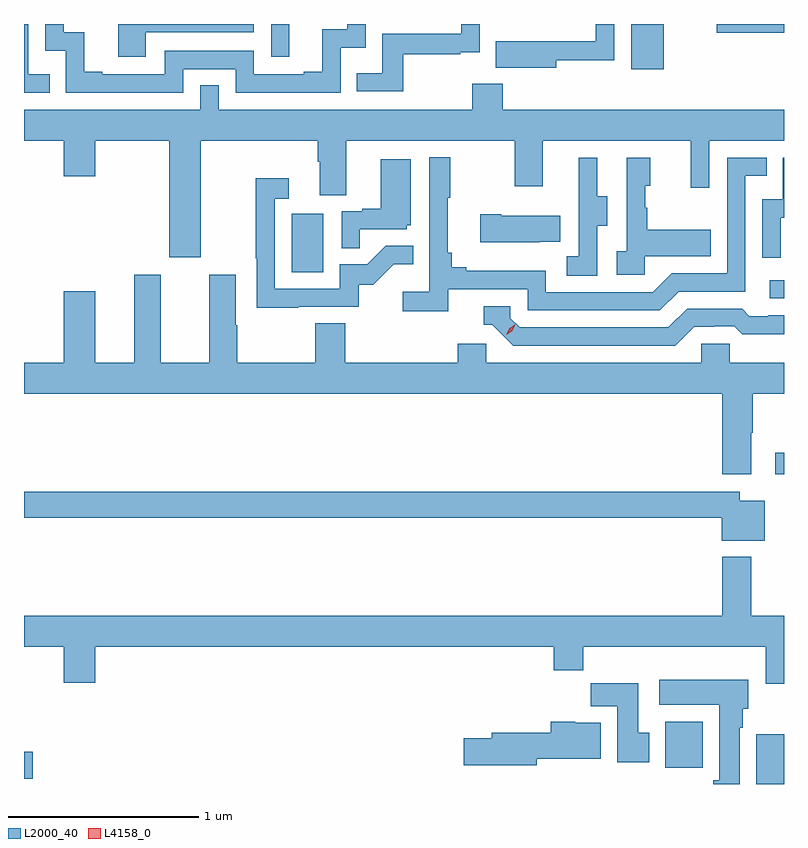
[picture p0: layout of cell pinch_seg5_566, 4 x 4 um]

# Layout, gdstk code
import gdstk
lib = gdstk.Library(unit=1e-6, precision=1e-09)
def R(c, l, rs):  # rectangles x0, y0, x1, y1
    for r in rs: c.add(gdstk.rectangle(r[:2], r[2:], *l))
def P(c, l, *ps):  # polygons
    for p in ps: c.add(gdstk.Polygon(p, *l))
L2000_40 = (2000, 40)
L4158_0 = (4158, 0)

pinch_seg5_566 = lib.new_cell('pinch_seg5_566')
R(pinch_seg5_566, L2000_40, [(1103.717,864.03,1103.862,864.292), (1099.862,864.058,1099.909,864.2), (1103.237,864.116,1103.434,864.358), (1103.817,865.661,1103.862,865.774), (1103.787,866.586,1103.862,866.682), (1101.272,866.724,1101.436,867.031), (1103.057,867.792,1103.23,868.03), (1101.162,867.858,1101.259,868.03), (1103.508,867.985,1103.862,868.03)])
P(pinch_seg5_566, L2000_40, [(1102.663,867.838),(1102.968,867.838),(1102.968,868.03),(1102.872,868.03),(1102.872,867.939),(1102.559,867.939),(1102.559,867.94),(1102.345,867.94),(1102.345,867.8),(1102.663,867.8)],
  [(1100.7,867.792),(1100.976,867.792),(1100.976,867.669),(1101.528,867.669),(1101.528,867.905),(1101.66,867.905),(1101.66,868.03),(1101.564,868.03),(1101.564,868.003),(1101.431,868.003),(1101.431,867.778),(1101.335,867.778),(1101.335,867.765),(1101.072,867.765),(1101.072,867.888),(1100.604,867.888),(1100.604,867.765),(1100.275,867.765),(1100.275,867.778),(1100.18,867.778),(1100.18,867.986),(1100.07,867.986),(1100.07,868.03),(1099.974,868.03),(1099.974,867.888),(1100.082,867.888),(1100.082,867.669),(1100.7,867.669)],
  [(1100.503,867.987),(1101.072,867.987),(1101.072,868.03),(1100.359,868.03),(1100.359,867.858),(1100.503,867.858)],
  [(1099.997,867.765),(1099.884,867.765),(1099.884,868.03),(1099.862,868.03),(1099.862,867.669),(1099.997,867.669)],
  [(1101.859,867.87),(1102.157,867.87),(1102.157,867.881),(1102.26,867.881),(1102.26,868.03),(1102.164,868.03),(1102.164,867.978),(1101.748,867.978),(1101.748,867.772),(1101.613,867.772),(1101.613,867.675),(1101.859,867.675)],
  [(1100.791,867.416),(1101.407,867.416),(1101.407,867.304),(1101.419,867.304),(1101.419,867.13),(1101.559,867.13),(1101.559,867.416),(1102.444,867.416),(1102.444,867.177),(1102.591,867.177),(1102.591,867.416),(1103.372,867.416),(1103.372,867.168),(1103.469,867.168),(1103.469,867.416),(1103.862,867.416),(1103.862,867.58),(1102.382,867.58),(1102.382,867.715),(1102.222,867.715),(1102.222,867.58),(1100.886,867.58),(1100.886,867.707),(1100.79,867.707),(1100.79,867.58),(1099.862,867.58),(1099.862,867.416),(1100.072,867.416),(1100.072,867.228),(1100.236,867.228),(1100.236,867.416),(1100.627,867.416),(1100.627,866.802),(1100.791,866.802)],
  [(1102.094,866.634),(1102.512,866.634),(1102.512,866.523),(1103.209,866.523),(1103.308,866.622),(1103.658,866.622),(1103.658,867.231),(1103.771,867.231),(1103.771,867.327),(1103.562,867.327),(1103.562,866.718),(1103.271,866.718),(1103.172,866.619),(1102.608,866.619),(1102.608,866.731),(1102.189,866.731),(1102.189,866.75),(1102.112,866.75),(1102.112,866.827),(1102.093,866.827),(1102.093,867.115),(1102.105,867.115),(1102.105,867.328),(1101.996,867.328),(1101.996,866.62),(1101.855,866.62),(1101.855,866.518),(1102.094,866.518)],
  [(1103.844,867.011),(1103.862,867.011),(1103.862,867.327),(1103.856,867.327),(1103.856,867.108),(1103.748,867.108),(1103.748,866.799),(1103.844,866.799)],
  [(1103.13,866.807),(1103.477,866.807),(1103.477,866.947),(1103.143,866.947),(1103.143,867.062),(1103.133,867.062),(1103.133,867.18),(1103.158,867.18),(1103.158,867.325),(1103.034,867.325),(1103.034,866.834),(1102.983,866.834),(1102.983,866.709),(1103.13,866.709)],
  [(1102.878,866.968),(1102.933,866.968),(1102.933,867.123),(1102.879,867.123),(1102.879,867.325),(1102.781,867.325),(1102.781,867.111),(1102.782,867.111),(1102.782,866.807),(1102.719,866.807),(1102.719,866.704),(1102.878,866.704)],
  [(1101.629,866.949),(1101.876,866.949),(1101.876,866.97),(1101.898,866.97),(1101.898,867.319),(1101.74,867.319),(1101.74,867.058),(1101.641,867.058),(1101.641,867.045),(1101.534,867.045),(1101.534,866.851),(1101.629,866.851)],
  [(1101.305,866.541),(1101.624,866.541),(1101.624,866.658),(1101.7,866.658),(1101.807,866.765),(1101.911,866.765),(1101.911,866.864),(1101.767,866.864),(1101.669,866.766),(1101.525,866.766),(1101.525,866.637),(1101.183,866.637),(1101.183,867.111),(1101.256,867.111),(1101.256,867.217),(1101.082,867.217),(1101.082,866.797),(1101.087,866.797),(1101.087,866.536),(1101.305,866.536)],
  [(1102.577,866.885),(1102.685,866.885),(1102.685,867.022),(1102.375,867.022),(1102.375,867.03),(1102.263,867.03),(1102.263,866.882),(1102.577,866.882)],
  [(1103.689,865.88),(1103.697,865.88),(1103.697,866.084),(1103.862,866.084),(1103.862,866.248),(1103.577,866.248),(1103.577,866.346),(1103.427,866.346),(1103.427,866.248),(1102.296,866.248),(1102.296,866.346),(1102.145,866.346),(1102.145,866.248),(1101.554,866.248),(1101.554,866.456),(1101.394,866.456),(1101.394,866.248),(1100.985,866.248),(1100.985,866.444),(1100.977,866.444),(1100.977,866.71),(1100.837,866.71),(1100.837,866.248),(1100.581,866.248),(1100.581,866.71),(1100.441,866.71),(1100.441,866.248),(1100.236,866.248),(1100.236,866.623),(1100.072,866.623),(1100.072,866.248),(1099.862,866.248),(1099.862,866.084),(1103.537,866.084),(1103.537,865.659),(1103.689,865.659)],
  [(1103.389,866.436),(1103.496,866.436),(1103.496,866.439),(1103.599,866.439),(1103.641,866.397),(1103.862,866.397),(1103.862,866.496),(1103.779,866.496),(1103.779,866.493),(1103.68,866.493),(1103.641,866.532),(1103.352,866.532),(1103.253,866.433),(1102.47,866.433),(1102.422,866.481),(1102.422,866.544),(1102.283,866.544),(1102.283,866.448),(1102.326,866.448),(1102.437,866.337),(1103.29,866.337)],
  [(1103.761,865.522),(1103.628,865.522),(1103.628,865.568),(1099.862,865.568),(1099.862,865.432),(1103.534,865.432),(1103.534,865.31),(1103.761,865.31)],
  [(1103.862,864.916),(1103.689,864.916),(1103.689,865.225),(1103.537,865.225),(1103.537,864.916),(1099.862,864.916),(1099.862,864.752),(1100.072,864.752),(1100.072,864.564),(1100.236,864.564),(1100.236,864.752),(1102.649,864.752),(1102.649,864.628),(1102.805,864.628),(1102.805,864.752),(1103.765,864.752),(1103.765,864.558),(1103.862,864.558)],
  [(1103.629,864.326),(1103.644,864.326),(1103.644,864.426),(1103.674,864.426),(1103.674,864.58),(1103.205,864.58),(1103.205,864.446),(1103.522,864.446),(1103.522,864.05),(1103.489,864.05),(1103.489,864.03),(1103.629,864.03)],
  [(1103.152,864.3),(1103.095,864.3),(1103.095,864.559),(1102.846,864.559),(1102.846,864.44),(1102.985,864.44),(1102.985,864.144),(1103.152,864.144)],
  [(1102.56,864.164),(1102.897,864.164),(1102.897,864.352),(1102.764,864.352),(1102.764,864.358),(1102.634,864.358),(1102.634,864.3),(1102.325,864.3),(1102.325,864.27),(1102.176,864.27),(1102.176,864.128),(1102.56,864.128)])
P(pinch_seg5_566, L4158_0, [(1102.399,866.394),(1102.399,866.394),(1102.415,866.427),(1102.446,866.447),(1102.447,866.447),(1102.447,866.446),(1102.43,866.414),(1102.399,866.394)])

lib.write_gds('pinch_seg5_566.gds')
